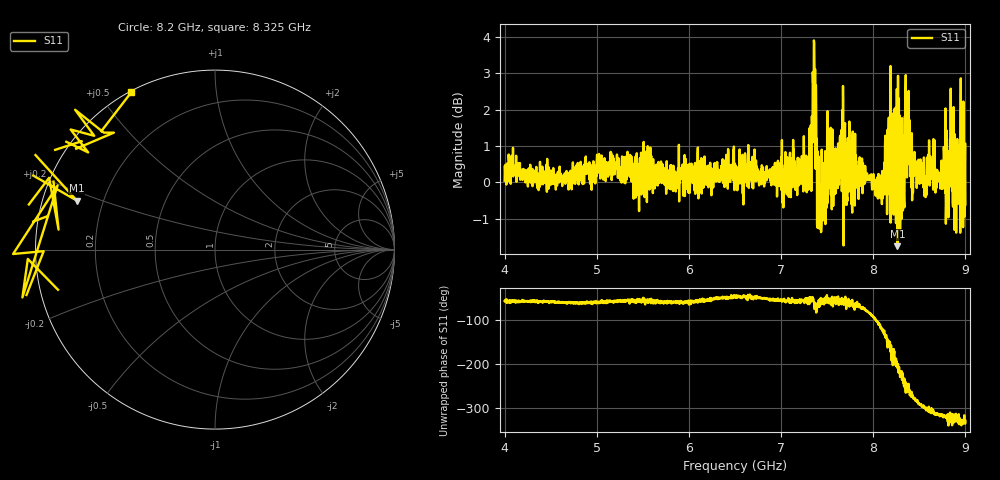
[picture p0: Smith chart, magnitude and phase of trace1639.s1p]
! Created with skrf 1.8.0 (http://scikit-rf.org).
# Hz S RI R 50.0
!freq ReS11 ImS11
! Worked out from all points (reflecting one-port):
!   1601 points, 4 GHz to 9 GHz, reference 50 ohm
!   lowest |S11| = -1.8 dB at 8.262 GHz (marker M1), VSWR 9.92, Z = 5.19 + j8.52 ohm
!   phase of S11 starts at -57 deg and turns -271 deg over the sweep
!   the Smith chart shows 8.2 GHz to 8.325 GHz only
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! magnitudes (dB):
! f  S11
! 4 GHz  0.0
! 4.625 GHz  -0.1
! 5.25 GHz  0.1
! 5.875 GHz  0.1
! 6.5 GHz  0.5
! 7.125 GHz  -0.1
! 7.294 GHz  0.7
! 7.316 GHz  0.3
! 7.356 GHz  3.9
! 7.369 GHz  3.1
! 7.409 GHz  -0.6
! 7.422 GHz  -1.0
! 7.538 GHz  1.5
! 7.591 GHz  0.9
! 7.65 GHz  1.1
! 7.75 GHz  -0.1
! 8.075 GHz  0.1
! 8.153 GHz  0.7
! 8.262 GHz  -1.8
! 8.312 GHz  1.8
! 8.334 GHz  -0.5
! 8.375 GHz  1.4
! 8.425 GHz  0.2
! 8.556 GHz  -0.4
! 8.616 GHz  0.2
! 8.919 GHz  -0.6
! 8.959 GHz  1.8
! 9 GHz  -0.6
